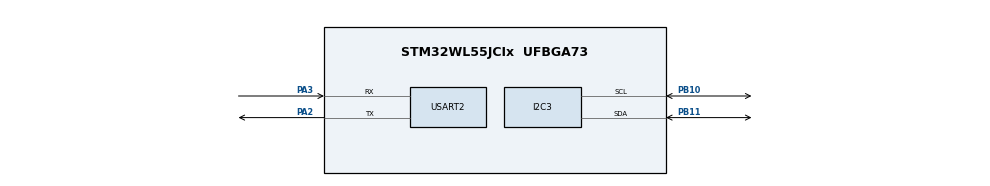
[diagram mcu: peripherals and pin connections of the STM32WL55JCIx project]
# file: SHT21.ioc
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I2C3.Timing=0x00100D14
Mcu.Family=STM32WL
Mcu.Name=STM32WL55JCIx
Mcu.Package=UFBGA73
NVIC.I2C3_ER_IRQn=true\:0\:0\:false\:false\:true\:true\:true\:true
NVIC.I2C3_EV_IRQn=true\:0\:0\:false\:false\:true\:true\:true\:true
NVIC.PriorityGroup=NVIC_PRIORITYGROUP_4
NVIC.USART2_IRQn=true\:0\:0\:false\:false\:true\:true\:true\:true
PA2.Mode=Asynchronous
PA2.Signal=USART2_TX
PA3.Mode=Asynchronous
PA3.Signal=USART2_RX
PB10.GPIO_Pu=GPIO_PULLUP
PB10.Mode=I2C
PB10.Signal=I2C3_SCL
PB11.GPIO_Pu=GPIO_PULLUP
PB11.Mode=I2C
PB11.Signal=I2C3_SDA
ProjectManager.HeapSize=0x200
ProjectManager.StackSize=0x400
ProjectManager.TargetToolchain=STM32CubeIDE
RCC.HSE_VALUE=8000000
RCC.HSI_VALUE=16000000
RCC.LSE_VALUE=32768
RCC.VCOOutputFreq_Value=32000000
USART2.VirtualMode-Asynchronous=VM_ASYNC
board=custom

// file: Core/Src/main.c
/* USER CODE BEGIN Header */
/**
 ******************************************************************************
 * @file           : main.c
 * @brief          : Main program body
 ******************************************************************************
 * @attention
 *
 * Copyright (c) 2026 STMicroelectronics.
 * All rights reserved.
 *
 * This software is licensed under terms that can be found in the LICENSE file
 * in the root directory of this software component.
 * If no LICENSE file comes with this software, it is provided AS-IS.
 *
 ******************************************************************************
 */
/* USER CODE END Header */
#include "main.h"
#include "driver_bmp280.h"
#include "driver_bmp280_interface.h"
/* USER CODE BEGIN Includes */
#include <stdio.h>
#include <string.h>
/* USER CODE END Includes */

/* USER CODE BEGIN PD */

//Direccion SHT21
#define SHT21_I2C_ADDR   (0x40 << 1) // Dirección I2C desplazada 1 bit
#define CMD_MEASURE_T    0xF3        // Trigger T measurement (no hold master)
#define CMD_MEASURE_RH   0xF5        // Trigger RH measurement (no hold master)

//Dirección BMP280BMP280_I2C_ADDR_GND
#define BMP280_ADDRESS_0 	0x76
#define BMP280_REG_CTRL_MEAS 0xF4
#define BMP280_REG_CONFIG    0xF5
#define BMP280_REG_DATA      0xF7
/* USER CODE END PD */

I2C_HandleTypeDef hi2c3;

UART_HandleTypeDef huart2;

void SystemClock_Config(void);
static void MX_GPIO_Init(void);
static void MX_I2C3_Init(void);
static void MX_USART2_UART_Init(void);

/* USER CODE BEGIN 0 */
bmp280_handle_t gs_handle; // Estructura de control del sensor

void SHT21_Read(float *temperature, float *humidity) {
	uint8_t cmd;
	uint8_t data[3];
	uint16_t raw_val;
	// 1. Leer Temperatura
	cmd = CMD_MEASURE_T;
	HAL_I2C_Master_Transmit(&hi2c3, SHT21_I2C_ADDR, &cmd, 1, HAL_MAX_DELAY); // Enviamos el comando de medición de temperatura
	HAL_Delay(85); // Esperamos el tiempo máximo de conversión para 14 bits (85 ms)
	HAL_I2C_Master_Receive(&hi2c3, SHT21_I2C_ADDR, data, 3, HAL_MAX_DELAY); // Leemos 3 bytes: MSB, LSB y CRC
	// Unimos los bytes y ponemos a '0' los últimos 2 bits de estado (0xFC = 11111100 en binario)
	raw_val = (data[0] << 8) | (data[1] & 0xFC);
	*temperature = -46.85 + 175.72 * ((float) raw_val / 65536.0); // Aplicamos la fórmula del datasheet
	// 2. Leer Humedad Relativa
	cmd = CMD_MEASURE_RH;
	HAL_I2C_Master_Transmit(&hi2c3, SHT21_I2C_ADDR, &cmd, 1, HAL_MAX_DELAY); // Enviamos el comando de medición de humedad
	HAL_Delay(29); // Esperamos el tiempo máximo de conversión para 12 bits (29 ms)
	HAL_I2C_Master_Receive(&hi2c3, SHT21_I2C_ADDR, data, 3, HAL_MAX_DELAY); // Leemos 3 bytes: MSB, LSB y CRC
	raw_val = (data[0] << 8) | (data[1] & 0xFC); // Unimos los bytes y ponemos a '0' los últimos 2 bits de estado
	*humidity = -6.0 + 125.0 * ((float) raw_val / 65536.0);	// Aplicamos la fórmula del datasheet
}

void UART_Print(const char *msg) {
	HAL_UART_Transmit(&huart2, (uint8_t*) msg, strlen(msg), HAL_MAX_DELAY);
}

/* USER CODE END 0 */
/* USER CODE END 0 */

int main(void) {

	/* MCU Configuration--------------------------------------------------------*/

	/* Reset of all peripherals, Initializes the Flash interface and the Systick. */
	HAL_Init();

	/* Configure the system clock */
	SystemClock_Config();

	/* Initialize all configured peripherals */
	MX_GPIO_Init();
	MX_I2C3_Init();
	MX_USART2_UART_Init();
	/* USER CODE BEGIN 2 */
	float tempe, hum;
	char uart_buf[100];
	HAL_Delay(2500);
	//BMP280
	// 1. Enlazar las funciones de la interfaz
	DRIVER_BMP280_LINK_INIT(&gs_handle, bmp280_handle_t);

	// Enlaces I2C (Los que ya arreglamos)
	DRIVER_BMP280_LINK_IIC_INIT(&gs_handle, bmp280_interface_iic_init);
	DRIVER_BMP280_LINK_IIC_DEINIT(&gs_handle, bmp280_interface_iic_deinit);
	DRIVER_BMP280_LINK_IIC_READ(&gs_handle, bmp280_interface_iic_read);
	DRIVER_BMP280_LINK_IIC_WRITE(&gs_handle, bmp280_interface_iic_write);

	// NUEVOS: Enlaces SPI (Ficticios para pasar el control de seguridad)
	DRIVER_BMP280_LINK_SPI_INIT(&gs_handle, bmp280_interface_spi_init);
	DRIVER_BMP280_LINK_SPI_DEINIT(&gs_handle, bmp280_interface_spi_deinit);
	DRIVER_BMP280_LINK_SPI_READ(&gs_handle, bmp280_interface_spi_read);
	DRIVER_BMP280_LINK_SPI_WRITE(&gs_handle, bmp280_interface_spi_write);

	// Enlaces misceláneos
	DRIVER_BMP280_LINK_DELAY_MS(&gs_handle, bmp280_interface_delay_ms);
	DRIVER_BMP280_LINK_DEBUG_PRINT(&gs_handle, bmp280_interface_debug_print);

	// 2. Configurar el protocolo e inicializar
	bmp280_set_interface(&gs_handle, BMP280_INTERFACE_IIC);
	bmp280_set_addr_pin(&gs_handle, BMP280_ADDRESS_0); // O BMP280_ADDR_GND dependiendo de tu pin SDO

	// Probamos si el sensor responde en la dirección 0x76 (desplazada)
	if (HAL_I2C_IsDeviceReady(&hi2c3, (0x76 << 1), 3, 100) == HAL_OK) {
		UART_Print("BMP280 detectado en el bus I2C!\r\n");
	} else {
		UART_Print("BMP280 NO responde (revisar cables/CSB/pull-ups)\r\n");
	}

	if (bmp280_init(&gs_handle) != 0) {
		UART_Print("Error al inicializar sensor BMP280\r\n");
	}

	// 3. Configuraciones básicas (recomendadas para clima/estándar)
	bmp280_set_temperature_oversampling(&gs_handle, BMP280_OVERSAMPLING_x1);
	bmp280_set_pressure_oversampling(&gs_handle, BMP280_OVERSAMPLING_x4);
	bmp280_set_standby_time(&gs_handle, BMP280_STANDBY_TIME_500_MS);
	bmp280_set_mode(&gs_handle, BMP280_MODE_NORMAL); // Arrancar mediciones continuas

	uint32_t raw_temperature;
	uint32_t raw_pressure;
	float temperature_c;
	float pressure_pa;
	char buffer_uart[100];
	/* USER CODE END 2 */

	/* Infinite loop */
	/* USER CODE BEGIN WHILE */
	while (1) {

		if (bmp280_read_temperature_pressure(&gs_handle, &raw_temperature,
				&temperature_c, &raw_pressure, &pressure_pa) == 0) {
			sprintf(buffer_uart, "Temperatura: %.2f C, Presion: %.2f Pa\r\n",
					temperature_c, pressure_pa);
			UART_Print(buffer_uart);
		} else {
			UART_Print("Error al leer datos\r\n");
		}
		HAL_Delay(100);
		SHT21_Read(&tempe, &hum);

		// Formateamos la cadena (Asegúrate de tener habilitado el soporte para float en printf en la config del IDE si usas STM32CubeIDE)
		sprintf(uart_buf, "Temperatura: %.2f C | Humedad: %.2f %%\r\n", tempe,
				hum);

		// Enviamos por el puerto serial (USART)
		HAL_UART_Transmit(&huart2, (uint8_t*) uart_buf, strlen(uart_buf),
		HAL_MAX_DELAY);

		// Esperamos un segundo antes de la próxima lectura
		HAL_Delay(1000);
		/* USER CODE END WHILE */

	}
}

void SystemClock_Config(void) {
	RCC_OscInitTypeDef RCC_OscInitStruct = { 0 };
	RCC_ClkInitTypeDef RCC_ClkInitStruct = { 0 };

	/** Configure the main internal regulator output voltage
	 */
	__HAL_PWR_VOLTAGESCALING_CONFIG(PWR_REGULATOR_VOLTAGE_SCALE2);

	/** Initializes the CPU, AHB and APB buses clocks
	 */
	RCC_OscInitStruct.OscillatorType = RCC_OSCILLATORTYPE_MSI;
	RCC_OscInitStruct.MSIState = RCC_MSI_ON;
	RCC_OscInitStruct.MSICalibrationValue = RCC_MSICALIBRATION_DEFAULT;
	RCC_OscInitStruct.MSIClockRange = RCC_MSIRANGE_6;
	RCC_OscInitStruct.PLL.PLLState = RCC_PLL_NONE;
	if (HAL_RCC_OscConfig(&RCC_OscInitStruct) != HAL_OK) {
		Error_Handler();
	}

	/** Configure the SYSCLKSource, HCLK, PCLK1 and PCLK2 clocks dividers
	 */
	RCC_ClkInitStruct.ClockType = RCC_CLOCKTYPE_HCLK3 | RCC_CLOCKTYPE_HCLK
			| RCC_CLOCKTYPE_SYSCLK | RCC_CLOCKTYPE_PCLK1 | RCC_CLOCKTYPE_PCLK2;
	RCC_ClkInitStruct.SYSCLKSource = RCC_SYSCLKSOURCE_MSI;
	RCC_ClkInitStruct.AHBCLKDivider = RCC_SYSCLK_DIV1;
	RCC_ClkInitStruct.APB1CLKDivider = RCC_HCLK_DIV1;
	RCC_ClkInitStruct.APB2CLKDivider = RCC_HCLK_DIV1;
	RCC_ClkInitStruct.AHBCLK3Divider = RCC_SYSCLK_DIV1;

	if (HAL_RCC_ClockConfig(&RCC_ClkInitStruct, FLASH_LATENCY_0) != HAL_OK) {
		Error_Handler();
	}
}

static void MX_I2C3_Init(void) {

	hi2c3.Instance = I2C3;
	hi2c3.Init.Timing = 0x00100D14;
	hi2c3.Init.OwnAddress1 = 0;
	hi2c3.Init.AddressingMode = I2C_ADDRESSINGMODE_7BIT;
	hi2c3.Init.DualAddressMode = I2C_DUALADDRESS_DISABLE;
	hi2c3.Init.OwnAddress2 = 0;
	hi2c3.Init.OwnAddress2Masks = I2C_OA2_NOMASK;
	hi2c3.Init.GeneralCallMode = I2C_GENERALCALL_DISABLE;
	hi2c3.Init.NoStretchMode = I2C_NOSTRETCH_DISABLE;
	if (HAL_I2C_Init(&hi2c3) != HAL_OK) {
		Error_Handler();
	}

	/** Configure Analogue filter
	 */
	if (HAL_I2CEx_ConfigAnalogFilter(&hi2c3, I2C_ANALOGFILTER_ENABLE)
			!= HAL_OK) {
		Error_Handler();
	}

	/** Configure Digital filter
	 */
	if (HAL_I2CEx_ConfigDigitalFilter(&hi2c3, 0) != HAL_OK) {
		Error_Handler();
	}

}

static void MX_USART2_UART_Init(void) {

	huart2.Instance = USART2;
	huart2.Init.BaudRate = 115200;
	huart2.Init.WordLength = UART_WORDLENGTH_8B;
	huart2.Init.StopBits = UART_STOPBITS_1;
	huart2.Init.Parity = UART_PARITY_NONE;
	huart2.Init.Mode = UART_MODE_TX_RX;
	huart2.Init.HwFlowCtl = UART_HWCONTROL_NONE;
	huart2.Init.OverSampling = UART_OVERSAMPLING_16;
	huart2.Init.OneBitSampling = UART_ONE_BIT_SAMPLE_DISABLE;
	huart2.Init.ClockPrescaler = UART_PRESCALER_DIV1;
	huart2.AdvancedInit.AdvFeatureInit = UART_ADVFEATURE_NO_INIT;
	if (HAL_UART_Init(&huart2) != HAL_OK) {
		Error_Handler();
	}
	if (HAL_UARTEx_SetTxFifoThreshold(&huart2, UART_TXFIFO_THRESHOLD_1_8)
			!= HAL_OK) {
		Error_Handler();
	}
	if (HAL_UARTEx_SetRxFifoThreshold(&huart2, UART_RXFIFO_THRESHOLD_1_8)
			!= HAL_OK) {
		Error_Handler();
	}
	if (HAL_UARTEx_DisableFifoMode(&huart2) != HAL_OK) {
		Error_Handler();
	}

}

static void MX_GPIO_Init(void) {

	/* GPIO Ports Clock Enable */
	__HAL_RCC_GPIOB_CLK_ENABLE();
	__HAL_RCC_GPIOA_CLK_ENABLE();

}

void Error_Handler(void) {
	__disable_irq();
	while (1) {
	}
}
